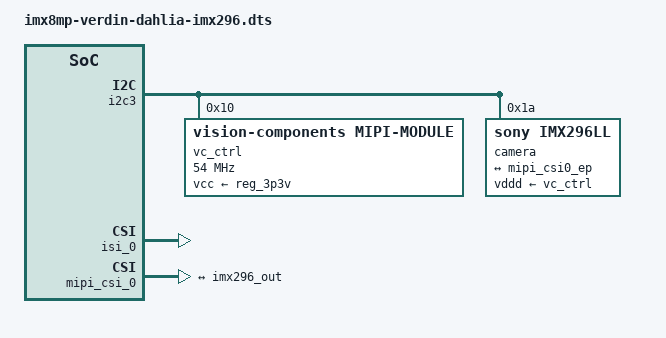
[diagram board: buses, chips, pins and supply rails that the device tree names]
// SPDX-License-Identifier: (GPL-2.0+ OR MIT)
/*
 * Copyright 2021 Ideas on Board Oy
 */

/dts-v1/;
/plugin/;

&i2c3 {
	status = "okay";

	vc_ctrl: controller@10 {
		compatible = "vision-components,mipi-module";
		reg = <0x10>;
		#clock-cells = <0>;
		vcc-supply = <&reg_3p3v>;
		clock-frequency = <54000000>;
	};

	camera@1a {
		compatible = "sony,imx296ll";
		reg = <0x1a>;

		clocks = <&vc_ctrl>;
		clock-names = "inck";

		vddd-supply = <&vc_ctrl>;

		orientation = <1>;	/* Back */
		rotation = <0>;

		port {
			imx296_out: endpoint {
				data-lanes = <1>;
				remote-endpoint = <&mipi_csi0_ep>;
			};
		};
	};
};

&isi_0 {
	status = "okay";
};

&mipi_csi_0 {
	status = "okay";

	ports {
		port@0 {
			mipi_csi0_ep: endpoint {
				remote-endpoint = <&imx296_out>;
				data-lanes = <1>;
			};
		};
	};
};
